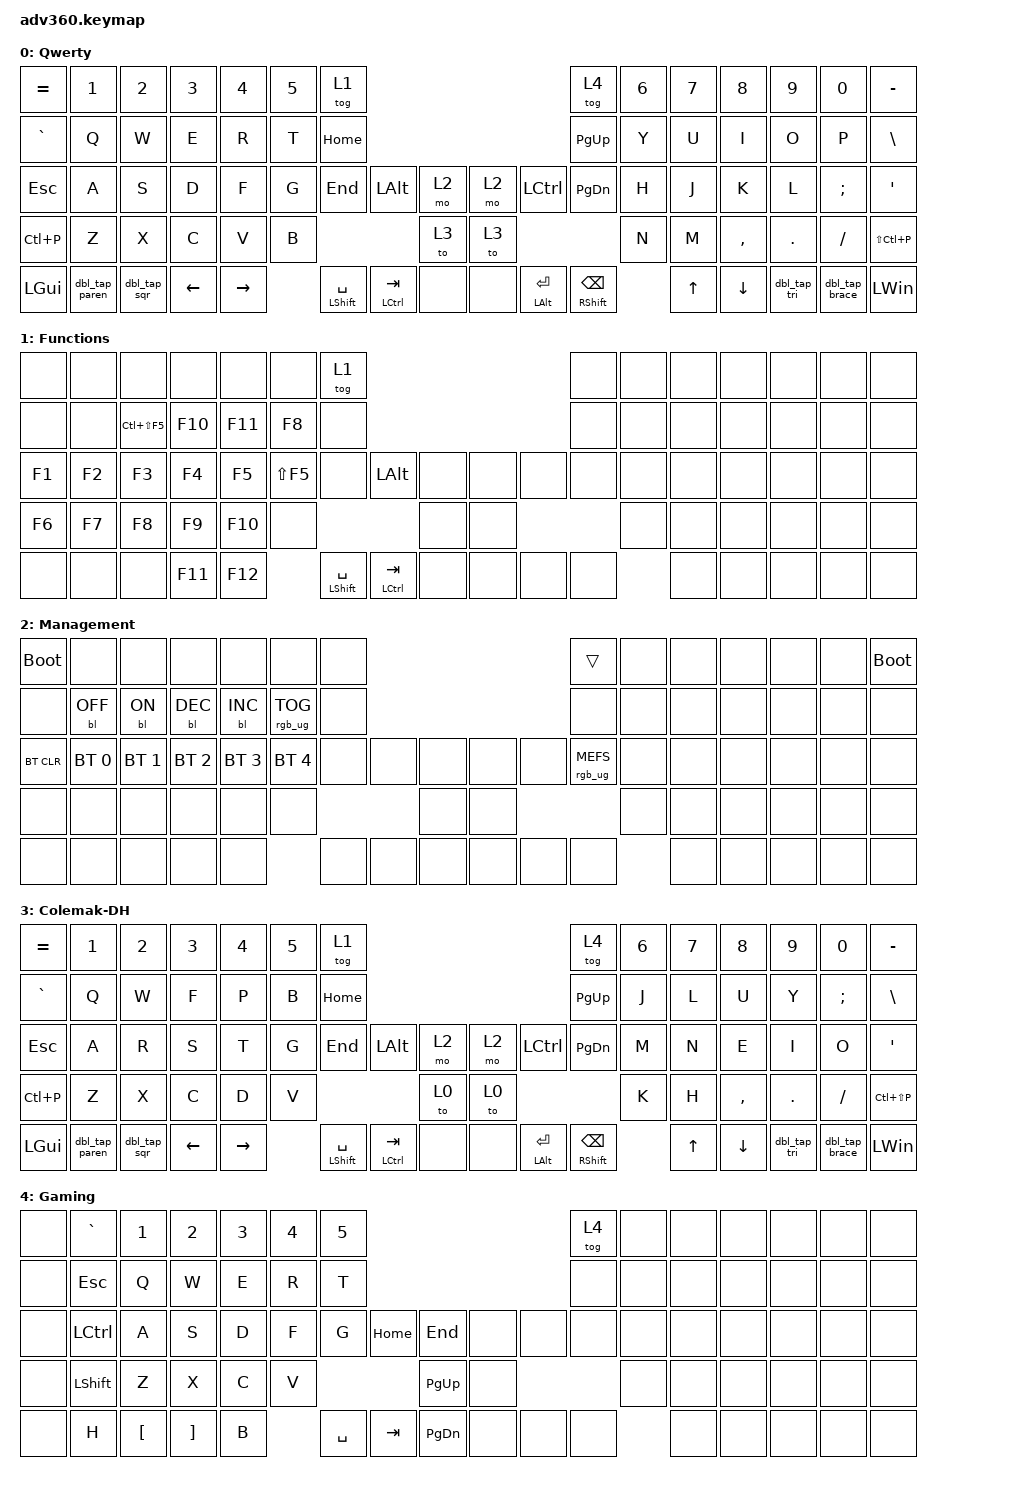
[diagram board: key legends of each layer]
#include <behaviors.dtsi>
#include <dt-bindings/zmk/backlight.h>
#include <dt-bindings/zmk/bt.h>
#include <dt-bindings/zmk/keys.h>
#include <dt-bindings/zmk/rgb.h>

/ {
    behaviors {
        #include "macros.dtsi"
      #include "version.dtsi"
      #ifndef VERSION_MACRO
      #endif

        bht: bobs_hold_tap {
            compatible = "zmk,behavior-hold-tap";
            #binding-cells = <2>;
            flavor = "tap-preferred";
            tapping-term-ms = <200>;
            quick-tap-ms = <100>;
            bindings = <&kp>, <&kp>;
        };

        dbl_tap_paren: dbl_tap_paren {
            compatible = "zmk,behavior-tap-dance";
            label = "DBL_TAP_PAREN";
            #binding-cells = <0>;
            bindings = <&kp LEFT_PARENTHESIS>, <&kp RIGHT_PARENTHESIS>;

            tapping-term-ms = <250>;
        };

        dbl_tap_brace: dbl_tap_brace {
            compatible = "zmk,behavior-tap-dance";
            label = "DBL_TAP_BRACE";
            #binding-cells = <0>;
            tapping-term-ms = <250>;
            bindings = <&kp LEFT_BRACE>, <&kp RIGHT_BRACE>;
        };

        dbl_tap_sqr: dbl_tap_sqr {
            compatible = "zmk,behavior-tap-dance";
            label = "DBL_TAP_SQR";
            #binding-cells = <0>;
            bindings = <&kp LEFT_BRACKET>, <&kp RIGHT_BRACKET>;
        };

        dbl_tap_tri: dbl_tap_tri {
            compatible = "zmk,behavior-tap-dance";
            label = "DBL_TAP_TRI";
            #binding-cells = <0>;
            bindings = <&kp LESS_THAN>, <&kp GREATER_THAN>;
        };
    };

    keymap {
        compatible = "zmk,keymap";

        Qwerty {
            bindings = <
&kp EQUAL  &kp N1          &kp N2        &kp N3    &kp N4     &kp N5  &tog 1                                                                   &tog 4           &kp N6  &kp N7  &kp N8     &kp N9        &kp N0          &kp MINUS
&kp GRAVE  &kp Q           &kp W         &kp E     &kp R      &kp T   &kp HOME                                                                 &kp PAGE_UP      &kp Y   &kp U   &kp I      &kp O         &kp P           &kp BSLH
&kp ESC    &kp A           &kp S         &kp D     &kp F      &kp G   &kp END           &kp LEFT_ALT    &mo 2      &mo 2  &kp LCTRL            &kp PAGE_DOWN    &kp H   &kp J   &kp K      &kp L         &kp SEMI        &kp APOS
&kp LC(P)  &kp Z           &kp X         &kp C     &kp V      &kp B                                     &to 3      &to 3                                        &kp N   &kp M   &kp COMMA  &kp DOT       &kp FSLH        &kp LS(LC(P))
&kp LGUI   &dbl_tap_paren  &dbl_tap_sqr  &kp LEFT  &kp RIGHT          &bht LSHFT SPACE  &bht LCTRL TAB  &none      &none  &bht LEFT_ALT ENTER  &bht RSHFT BSPC          &kp UP  &kp DOWN   &dbl_tap_tri  &dbl_tap_brace  &kp LEFT_WIN
            >;
        };

        Functions {
            bindings = <
&none   &none   &none           &none    &none    &none       &tog 1                                                          &none  &none  &none  &none  &none  &none  &none
&none   &none   &kp LC(LS(F5))  &kp F10  &kp F11  &kp F8      &none                                                           &none  &none  &none  &none  &none  &none  &none
&kp F1  &kp F2  &kp F3          &kp F4   &kp F5   &kp LS(F5)  &none                  &kp LEFT_ALT    &none      &none  &none  &none  &none  &none  &none  &none  &none  &none
&kp F6  &kp F7  &kp F8          &kp F9   &kp F10  &none                                              &none      &none                &none  &none  &none  &none  &none  &none
&none   &none   &none           &kp F11  &kp F12              &bht LEFT_SHIFT SPACE  &bht LCTRL TAB  &none      &none  &none  &none         &none  &none  &none  &none  &none
            >;
        };

        Management {
            bindings = <
&bootloader  &none         &none         &none         &none         &none            &none                                  &trans                &none  &none  &none  &none  &none  &bootloader
&none        &bl BL_OFF    &bl BL_ON     &bl BL_DEC    &bl BL_INC    &rgb_ug RGB_TOG  &none                                  &none                 &none  &none  &none  &none  &none  &none
&bt BT_CLR   &bt BT_SEL 0  &bt BT_SEL 1  &bt BT_SEL 2  &bt BT_SEL 3  &bt BT_SEL 4     &none  &none  &none      &none  &none  &rgb_ug RGB_MEFS_CMD  &none  &none  &none  &none  &none  &none
&none        &none         &none         &none         &none         &none                          &none      &none                               &none  &none  &none  &none  &none  &none
&none        &none         &none         &none         &none                          &none  &none  &none      &none  &none  &none                        &none  &none  &none  &none  &none
            >;
        };

        Colemak-DH {
            bindings = <
&kp EQUAL  &kp N1          &kp N2        &kp N3    &kp N4     &kp N5  &tog 1                                                                   &tog 4           &kp N6  &kp N7  &kp N8     &kp N9        &kp N0          &kp MINUS
&kp GRAVE  &kp Q           &kp W         &kp F     &kp P      &kp B   &kp HOME                                                                 &kp PAGE_UP      &kp J   &kp L   &kp U      &kp Y         &kp SEMI        &kp BSLH
&kp ESC    &kp A           &kp R         &kp S     &kp T      &kp G   &kp END           &kp LEFT_ALT    &mo 2      &mo 2  &kp LCTRL            &kp PAGE_DOWN    &kp M   &kp N   &kp E      &kp I         &kp O           &kp APOS
&kp LC(P)  &kp Z           &kp X         &kp C     &kp D      &kp V                                     &to 0      &to 0                                        &kp K   &kp H   &kp COMMA  &kp DOT       &kp FSLH        &kp LC(LS(P))
&kp LGUI   &dbl_tap_paren  &dbl_tap_sqr  &kp LEFT  &kp RIGHT          &bht LSHFT SPACE  &bht LCTRL TAB  &none      &none  &bht LEFT_ALT ENTER  &bht RSHFT BSPC          &kp UP  &kp DOWN   &dbl_tap_tri  &dbl_tap_brace  &kp LEFT_WIN
            >;
        };

        Gaming {
            bindings = <
&none  &kp GRAVE   &kp NUMBER_1      &kp NUMBER_2       &kp NUMBER_3  &kp NUMBER_4  &kp NUMBER_5                                             &tog 4  &none  &none  &none  &none  &none  &none
&none  &kp ESCAPE  &kp Q             &kp W              &kp E         &kp R         &kp T                                                    &none   &none  &none  &none  &none  &none  &none
&none  &kp LCTRL   &kp A             &kp S              &kp D         &kp F         &kp G         &kp HOME  &kp END            &none  &none  &none   &none  &none  &none  &none  &none  &none
&none  &kp LSHFT   &kp Z             &kp X              &kp C         &kp V                                 &kp PAGE_UP        &none                 &none  &none  &none  &none  &none  &none
&none  &kp H       &kp LEFT_BRACKET  &kp RIGHT_BRACKET  &kp B                       &kp SPACE     &kp TAB   &kp PAGE_DOWN      &none  &none  &none          &none  &none  &none  &none  &none
            >;
        };
    };
};
